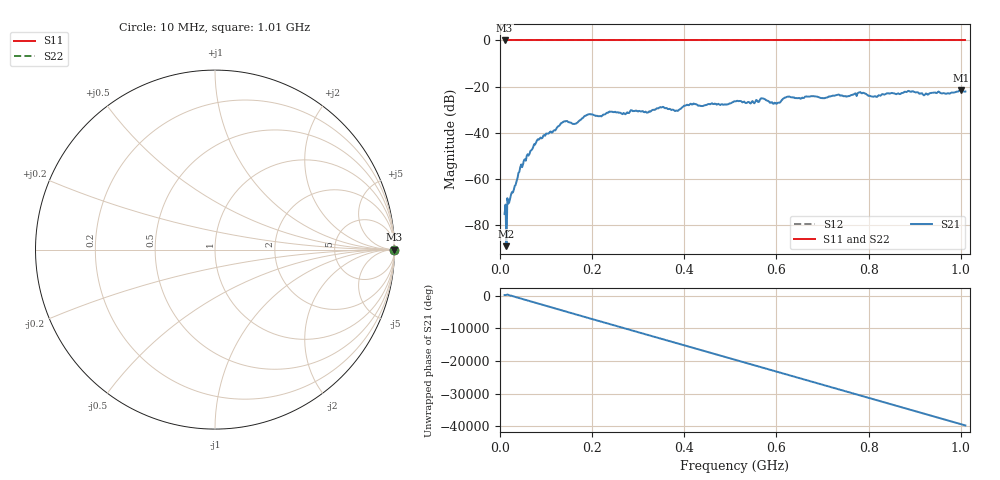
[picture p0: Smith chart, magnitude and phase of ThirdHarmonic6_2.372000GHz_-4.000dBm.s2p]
! 8/17/2025 3:43:01 AM
! C:\ANRITSUVNA\TEMP\TEMP.S2P
! CHANNEL.1
! TR.MEASUREMENT
! RAW.DATA
! RF.CORRECTION.OFF
! AVERAGING.OFF
! IF.BANDWIDTH: 5KHZ
! SWEEPTYPE:  FREQ.SWEEP(Linear)
! Reference Plane Port Info
! PORT:  PORT1  PORT2
! DISTANCE:  0  m  0  m
! TIME:  0  s  0  s
! PHASE.OFFSET:  0  deg.  0  deg.
! LOSS:  0  dB  0  dB
! REF.LOSS:  0  dB  0  dB
! REF.FREQ:  0  Hz  0  Hz
! Power Info
! POWER:  -20  dBm  -20  dBm
! EFF.POWER:  -20  dBm  -20  dBm
! SOURCE.ATTEN:  0  dB  0  dB
! TEST.ATTEN:  0  dB  0  dB
# GHZ S RI R 50.0
! FREQ.GHZ  S11RE  S11IM  S21RE  S21IM  S12RE  S12IM  S22RE  S22IM
!; PortSelection: Port_12
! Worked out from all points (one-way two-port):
!   501 points, 10 MHz to 1.01 GHz, reference 50 ohm
!   highest |S21| = -21.63 dB at 1 GHz (marker M1); lowest = -89.3 dB at 14 MHz (marker M2)
!   lowest |S11| = 0.0 dB at 10 MHz (marker M3)
!   |S11| at or under -10 dB: nowhere
!   |S22| runs from 0.0 to 0.0 dB; largest |S21 - S12| = 1.1
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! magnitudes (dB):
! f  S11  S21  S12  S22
! 10 MHz  0.0  -75.4  0.0  0.0
! 14 MHz  0.0  -89.3  0.0  0.0
! 44 MHz  0.0  -55.0  0.0  0.0
! 78 MHz  0.0  -44.4  0.0  0.0
! 136 MHz  0.0  -35.5  0.0  0.0
! 162 MHz  0.0  -36.2  0.0  0.0
! 178 MHz  0.0  -33.8  0.0  0.0
! 192 MHz  0.0  -32.0  0.0  0.0
! 318 MHz  0.0  -31.3  0.0  0.0
! 344 MHz  0.0  -29.5  0.0  0.0
! 384 MHz  0.0  -30.5  0.0  0.0
! 416 MHz  0.0  -27.8  0.0  0.0
! 510 MHz  0.0  -26.4  0.0  0.0
! 548 MHz  0.0  -26.3  0.0  0.0
! 570 MHz  0.0  -25.2  0.0  0.0
! 596 MHz  0.0  -27.0  0.0  0.0
! 624 MHz  0.0  -24.4  0.0  0.0
! 678 MHz  0.0  -24.2  0.0  0.0
! 814 MHz  0.0  -24.2  0.0  0.0
! 844 MHz  0.0  -23.0  0.0  0.0
! 1 GHz  0.0  -21.6  0.0  0.0
! 1.01 GHz  0.0  -22.2  0.0  0.0
